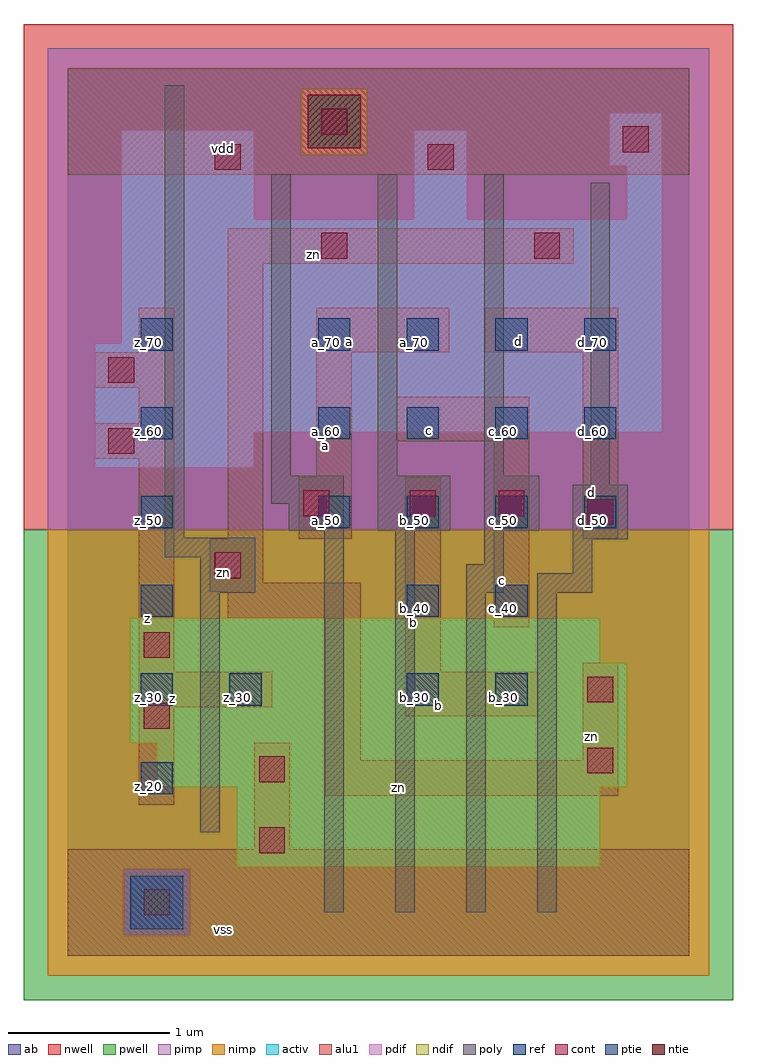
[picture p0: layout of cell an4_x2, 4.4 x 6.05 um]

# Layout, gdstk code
import gdstk
lib = gdstk.Library(unit=1e-6, precision=2.5e-09)
def R(c, l, rs):  # rectangles x0, y0, x1, y1
    for r in rs: c.add(gdstk.rectangle(r[:2], r[2:], *l))
def A(c, l, x, y, w, h, nx, ny, dx, dy):  # array of equal rectangles
    R(c, l, [(x+i*dx, y+j*dy, x+i*dx+w, y+j*dy+h) for i in range(nx) for j in range(ny)])
ndif = (3, 0)
pdif = (4, 0)
ntie = (5, 0)
ptie = (6, 0)
ref = (24, 0)
cont = (25, 0)
pwell = (41, 0)
nwell = (42, 0)
activ = (43, 0)
pimp = (44, 0)
nimp = (45, 0)
poly = (46, 0)
alu1 = (49, 0)
ab = (63, 0)

an4_x2 = lib.new_cell('an4_x2')
R(an4_x2, ndif, [(1.045,0.55,3.3,1.045), (0.55,1.045,3.465,1.32), (0.385,1.32,3.465,1.815), (0.385,1.815,3.3,2.09)])
R(an4_x2, pdif, [(0.165,3.025,1.155,3.245), (0.165,3.245,3.685,3.795), (0.33,3.795,3.685,4.565), (0.33,4.565,1.155,5.115), (2.145,4.565,2.475,5.115), (3.465,4.565,3.685,4.895), (3.355,4.895,3.685,5.225)])
R(an4_x2, ntie, [(1.485,5.005,1.815,5.335)])
R(an4_x2, ptie, [(0.385,0.165,0.715,0.495)])
A(an4_x2, ref, 0.45, 1, 0.2, 0.2, 1, 6, 0, 0.55)
A(an4_x2, ref, 1.55, 2.65, 0.2, 0.2, 4, 3, 0.55, 0.55)
R(an4_x2, ref, [(1,1.55,1.2,1.75), (2.1,1.55,2.3,1.75), (2.65,1.55,2.85,1.75), (2.1,2.1,2.3,2.3), (2.65,2.1,2.85,2.3)])
R(an4_x2, cont, [(0.47,0.25,0.63,0.41), (1.185,0.635,1.345,0.795), (1.185,1.075,1.345,1.235), (3.22,1.13,3.38,1.29), (0.47,1.405,0.63,1.565), (3.22,1.57,3.38,1.73), (0.47,1.845,0.63,2.005), (0.91,2.34,1.07,2.5), (3.22,2.67,3.38,2.83), (1.46,2.725,1.62,2.885), (2.12,2.725,2.28,2.885), (2.67,2.725,2.83,2.885), (0.25,3.11,0.41,3.27), (0.25,3.55,0.41,3.71), (1.57,4.32,1.73,4.48), (2.89,4.32,3.05,4.48), (0.91,4.87,1.07,5.03), (2.23,4.87,2.39,5.03), (3.44,4.98,3.6,5.14), (1.57,5.09,1.73,5.25)])
R(an4_x2, pwell, [(-0.275,-0.275,4.125,2.64)])
R(an4_x2, nwell, [(-0.275,2.64,4.125,5.775)])
R(an4_x2, activ, [(0.385,0.165,0.715,0.495), (1.045,0.55,3.3,1.045), (0.55,1.045,3.465,1.32), (0.385,1.32,3.465,1.815), (0.385,1.815,3.3,2.09), (0.165,3.025,1.155,3.245), (0.165,3.245,3.685,3.795), (0.33,3.795,3.685,4.565), (0.33,4.565,1.155,5.115), (2.145,4.565,2.475,5.115), (3.465,4.565,3.685,4.895), (3.355,4.895,3.685,5.225), (1.485,5.005,1.815,5.335)])
R(an4_x2, pimp, [(0.345,0.125,0.755,0.535), (-0.125,2.64,3.975,4.965), (-0.125,4.965,1.445,5.375), (1.855,4.965,3.975,5.375), (-0.125,5.375,3.975,5.625)])
R(an4_x2, nimp, [(-0.125,-0.125,3.975,0.125), (-0.125,0.125,0.345,0.535), (0.755,0.125,3.975,0.535), (-0.125,0.535,3.975,2.64), (1.445,4.965,1.855,5.375)])
A(an4_x2, poly, 1.26, 2.975, 0.12, 1.87, 3, 1, 0.66, 0)
R(an4_x2, poly, [(1.59,0.27,1.71,2.635), (2.03,0.27,2.15,2.635), (2.47,0.27,2.59,2.25), (2.91,0.27,3.03,2.25), (0.82,0.765,0.94,2.25), (0.82,2.25,1.16,2.47), (2.47,2.25,2.7,2.425), (2.91,2.25,3.25,2.37), (3.13,2.37,3.25,2.58), (2.58,2.425,2.7,2.635), (0.6,2.47,1.16,2.59), (3.13,2.58,3.47,2.92), (0.6,2.59,0.72,5.395), (1.37,2.635,1.71,2.8), (1.92,2.635,2.37,2.975), (2.58,2.635,2.92,2.975), (1.26,2.8,1.71,2.975), (3.24,2.92,3.36,4.79)])
R(an4_x2, alu1, [(0,0,3.85,0.66), (1.155,0.66,1.375,1.32), (0.44,0.935,0.66,1.54), (1.595,0.99,3.41,1.21), (1.595,1.21,1.815,2.09), (3.19,1.21,3.41,1.815), (2.09,1.485,2.915,1.76), (0.44,1.54,1.265,1.76), (0.44,1.76,0.66,3.08), (2.09,1.76,2.31,2.97), (2.64,2.035,2.86,3.19), (0.99,2.09,1.815,2.255), (0.88,2.255,1.815,2.31), (0.88,2.31,1.21,2.585), (0.99,2.585,1.21,4.29), (1.43,2.585,1.76,2.97), (3.19,2.585,3.41,3.74), (1.54,2.97,1.76,3.74), (0.165,3.08,0.66,3.3), (2.035,3.19,2.86,3.465), (0.44,3.3,0.66,3.52), (0.165,3.52,0.66,3.74), (0.44,3.74,0.66,4.015), (1.54,3.74,2.365,4.015), (2.585,3.74,3.41,4.015), (0.99,4.29,3.135,4.51), (0,4.84,3.85,5.5)])
R(an4_x2, ab, [(0,0,3.85,5.5)])
an4_x2.add(gdstk.Label('vss', (0.9625,0.165), layer=49, texttype=0))
an4_x2.add(gdstk.Label('zn', (2.0475,1.045), layer=49, texttype=0))
an4_x2.add(gdstk.Label('zn', (3.245,1.36), layer=49, texttype=0))
an4_x2.add(gdstk.Label('b', (2.295,1.5525), layer=49, texttype=0))
an4_x2.add(gdstk.Label('d', (3.245,2.8725), layer=49, texttype=0))
an4_x2.add(gdstk.Label('c', (2.695,2.3225), layer=49, texttype=0))
an4_x2.add(gdstk.Label('b', (2.145,2.0625), layer=49, texttype=0))
an4_x2.add(gdstk.Label('z', (0.645,1.595), layer=49, texttype=0))
an4_x2.add(gdstk.Label('zn', (0.9625,2.3775), layer=49, texttype=0))
an4_x2.add(gdstk.Label('c', (2.24,3.2575), layer=49, texttype=0))
an4_x2.add(gdstk.Label('a', (1.595,3.1625), layer=49, texttype=0))
an4_x2.add(gdstk.Label('d', (2.79,3.8075), layer=49, texttype=0))
an4_x2.add(gdstk.Label('a', (1.745,3.8075), layer=49, texttype=0))
an4_x2.add(gdstk.Label('z', (0.495,2.09), layer=49, texttype=0))
an4_x2.add(gdstk.Label('zn', (1.525,4.345), layer=49, texttype=0))
an4_x2.add(gdstk.Label('vdd', (0.9625,5.005), layer=49, texttype=0))
an4_x2.add(gdstk.Label('z_20', (0.5,1.05), layer=24, texttype=0))
an4_x2.add(gdstk.Label('a_50', (1.6,2.7), layer=24, texttype=0))
an4_x2.add(gdstk.Label('a_60', (1.6,3.25), layer=24, texttype=0))
an4_x2.add(gdstk.Label('a_70', (1.6,3.8), layer=24, texttype=0))
an4_x2.add(gdstk.Label('a_70', (2.15,3.8), layer=24, texttype=0))
an4_x2.add(gdstk.Label('c_40', (2.7,2.15), layer=24, texttype=0))
an4_x2.add(gdstk.Label('c_50', (2.7,2.7), layer=24, texttype=0))
an4_x2.add(gdstk.Label('c_60', (2.7,3.25), layer=24, texttype=0))
an4_x2.add(gdstk.Label('c_60', (2.15,3.25), layer=24, texttype=0))
an4_x2.add(gdstk.Label('d_50', (3.25,2.7), layer=24, texttype=0))
an4_x2.add(gdstk.Label('d_60', (3.25,3.25), layer=24, texttype=0))
an4_x2.add(gdstk.Label('d_70', (3.25,3.8), layer=24, texttype=0))
an4_x2.add(gdstk.Label('d_70', (2.7,3.8), layer=24, texttype=0))
an4_x2.add(gdstk.Label('b_30', (2.7,1.6), layer=24, texttype=0))
an4_x2.add(gdstk.Label('b_30', (2.15,1.6), layer=24, texttype=0))
an4_x2.add(gdstk.Label('b_40', (2.15,2.15), layer=24, texttype=0))
an4_x2.add(gdstk.Label('z_50', (0.5,2.7), layer=24, texttype=0))
an4_x2.add(gdstk.Label('z_60', (0.5,3.25), layer=24, texttype=0))
an4_x2.add(gdstk.Label('z_40', (0.5,2.15), layer=24, texttype=0))
an4_x2.add(gdstk.Label('z_70', (0.5,3.8), layer=24, texttype=0))
an4_x2.add(gdstk.Label('z_30', (0.5,1.6), layer=24, texttype=0))
an4_x2.add(gdstk.Label('b_50', (2.15,2.7), layer=24, texttype=0))
an4_x2.add(gdstk.Label('z_30', (1.05,1.6), layer=24, texttype=0))

lib.write_gds('an4_x2.gds')
